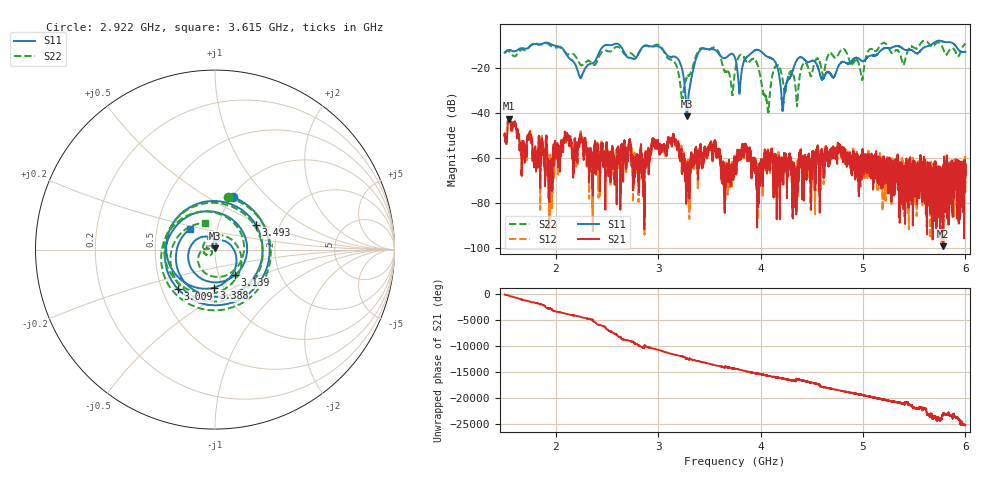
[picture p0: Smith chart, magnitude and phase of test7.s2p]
!Keysight Technologies N9923A: A.08.15
!Date: Monday, 19 February 2024 16:37:04
!Timezone: (GMT-05:00) Eastern Time (US & Canada)
!Model: N9923A
!Serial: MY52412730
!GPS Latitude:
!GPS Longitude:
!GPS TimeStamp: 0001-01-01 00:00:00Z
!GPS Seconds Since Last Read: 0
!CHECKSUM:2001348730
!Correction: S11(ON Q)S21(ON Q)S12(ON Q)S22(ON Q)
!S2P File: Measurements:S11,S21,S12,S22:
# Hz S DB R 50
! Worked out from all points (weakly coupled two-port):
!   10001 points, 1.5 GHz to 6 GHz, reference 50 ohm
!   highest |S21| = -42.50 dB at 1.546 GHz (marker M1); lowest = -99.2 dB at 5.785 GHz (marker M2)
!   lowest |S11| = -41.4 dB at 3.28 GHz (marker M3), VSWR 1.02, Z = 49.7 + j0.808 ohm
!   |S11| at or under -10 dB: start of sweep to 1.755 GHz; 1.998 GHz to 2.469 GHz (470.2 MHz wide, 21.1 % of centre); 2.907 GHz to 5.648 GHz (2.741 GHz wide, 64.1 % of centre) (the widest 3 of 8)
!   |S22| runs from -39.8 to -7.6 dB; largest |S21 - S12| = 0.0013
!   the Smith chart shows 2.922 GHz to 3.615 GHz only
!   S11 on the Smith chart (normalised r, x): 2.922 GHz: 1.01, +0.65; 3.009 GHz: 0.61, -0.30; 3.139 GHz: 1.19, -0.35; 3.388 GHz: 0.90, -0.40; 3.493 GHz: 1.51, +0.45; 3.615 GHz: 0.74, +0.18
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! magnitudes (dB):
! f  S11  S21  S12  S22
! 1.5 GHz  -13.0  -50.3  -49.9  -13.2
! 1.546 GHz  -11.9  -42.5  -43.0  -12.6
! 1.948 GHz  -9.2  -65.7  -60.4  -9.9
! 2.25 GHz  -23.6  -52.2  -51.6  -18.7
! 2.345 GHz  -17.9  -59.7  -63.2  -17.3
! 2.922 GHz  -10.2  -57.2  -57.8  -10.5
! 3 GHz  -10.3  -55.0  -55.0  -9.5
! 3.009 GHz  -10.4  -56.0  -57.0  -9.7
! 3.139 GHz  -14.9  -51.1  -51.6  -16.3
! 3.28 GHz  -41.4  -65.9  -66.6  -24.1
! 3.388 GHz  -13.4  -62.5  -64.2  -12.5
! 3.493 GHz  -11.5  -55.5  -55.9  -11.8
! 3.615 GHz  -14.8  -66.7  -63.4  -16.0
! 3.75 GHz  -15.4  -59.5  -62.6  -21.2
! 3.942 GHz  -12.1  -61.0  -62.0  -16.0
! 4.066 GHz  -14.9  -60.7  -64.2  -36.4
! 4.117 GHz  -15.8  -59.8  -61.1  -22.7
! 4.219 GHz  -38.0  -63.5  -70.4  -26.1
! 4.5 GHz  -16.6  -64.9  -66.3  -22.8
! 5.25 GHz  -11.0  -62.6  -61.8  -10.9
! 5.785 GHz  -8.1  -99.2  -64.1  -11.6
! 6 GHz  -12.6  -68.8  -65.2  -9.1
